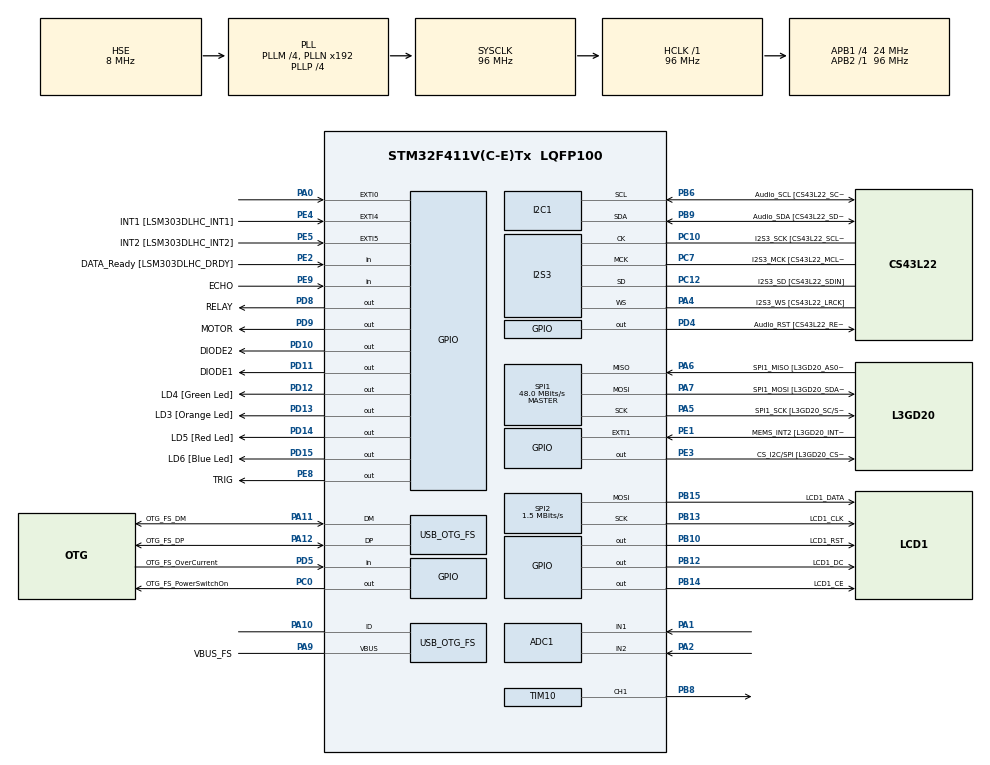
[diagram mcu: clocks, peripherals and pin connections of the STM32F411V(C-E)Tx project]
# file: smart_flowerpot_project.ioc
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ADC1.Channel-1\#ChannelRegularConversion=ADC_CHANNEL_1
ADC1.Channel-2\#ChannelRegularConversion=ADC_CHANNEL_2
ADC1.ContinuousConvMode=ENABLE
ADC1.NbrOfConversion=2
ADC1.NbrOfConversionFlag=1
ADC1.Rank-1\#ChannelRegularConversion=1
ADC1.Rank-2\#ChannelRegularConversion=2
ADC1.SamplingTime-1\#ChannelRegularConversion=ADC_SAMPLETIME_15CYCLES
ADC1.SamplingTime-2\#ChannelRegularConversion=ADC_SAMPLETIME_15CYCLES
ADC1.ScanConvMode=ENABLE
ADC1.master=1
Dma.ADC1.0.Direction=DMA_PERIPH_TO_MEMORY
Dma.ADC1.0.FIFOMode=DMA_FIFOMODE_DISABLE
Dma.ADC1.0.Instance=DMA2_Stream0
Dma.ADC1.0.MemDataAlignment=DMA_MDATAALIGN_HALFWORD
Dma.ADC1.0.MemInc=DMA_MINC_ENABLE
Dma.ADC1.0.Mode=DMA_NORMAL
Dma.ADC1.0.PeriphDataAlignment=DMA_PDATAALIGN_HALFWORD
Dma.ADC1.0.PeriphInc=DMA_PINC_DISABLE
Dma.ADC1.0.Priority=DMA_PRIORITY_LOW
Dma.Request0=ADC1
I2S3.AudioFreq=I2S_AUDIOFREQ_96K
I2S3.ErrorAudioFreq=-6.99 %
I2S3.FullDuplexMode=I2S_FULLDUPLEXMODE_DISABLE
I2S3.Instance=SPI$Index
I2S3.RealAudioFreq=89.285 KHz
I2S3.VirtualMode=I2S_MODE_MASTER
Mcu.Family=STM32F4
Mcu.Name=STM32F411V(C-E)Tx
Mcu.Package=LQFP100
NVIC.DMA2_Stream0_IRQn=true\:0\:0\:false\:false\:true\:false\:true
NVIC.PriorityGroup=NVIC_PRIORITYGROUP_0
NVIC.TIM1_UP_TIM10_IRQn=true\:0\:0\:false\:false\:true\:true\:true
PA0-WKUP.Signal=GPXTI0
PA1.Signal=ADCx_IN1
PA10.Mode=OTG/Dual_Role_Device
PA10.Signal=USB_OTG_FS_ID
PA11.GPIO_Label=OTG_FS_DM
PA11.Mode=OTG/Dual_Role_Device
PA11.Signal=USB_OTG_FS_DM
PA12.GPIO_Label=OTG_FS_DP
PA12.Mode=OTG/Dual_Role_Device
PA12.Signal=USB_OTG_FS_DP
PA13.GPIO_Label=SWDIO
PA13.Mode=Serial_Wire
PA13.Signal=SYS_JTMS-SWDIO
PA14.GPIO_Label=SWCLK
PA14.Mode=Serial_Wire
PA14.Signal=SYS_JTCK-SWCLK
PA2.Signal=ADCx_IN2
PA4.GPIO_Label=I2S3_WS [CS43L22_LRCK]
PA4.GPIO_Mode=GPIO_MODE_AF_PP
PA4.GPIO_PuPd=GPIO_NOPULL
PA4.GPIO_Speed=GPIO_SPEED_FREQ_LOW
PA4.Mode=Half_Duplex_Master
PA4.Signal=I2S3_WS
PA5.GPIO_Label=SPI1_SCK [L3GD20_SC/SPC]
PA5.Mode=Full_Duplex_Master
PA5.Signal=SPI1_SCK
PA6.GPIO_Label=SPI1_MISO [L3GD20_AS0/SDO]
PA6.Mode=Full_Duplex_Master
PA6.Signal=SPI1_MISO
PA7.GPIO_Label=SPI1_MOSI [L3GD20_SDA/SDI/SDO]
PA7.Mode=Full_Duplex_Master
PA7.Signal=SPI1_MOSI
PA9.GPIO_Label=VBUS_FS
PA9.Mode=Activate_VBUS
PA9.Signal=USB_OTG_FS_VBUS
PB10.GPIO_Label=LCD1_RST
PB10.Signal=GPIO_Output
PB12.GPIO_Label=LCD1_DC
PB12.Signal=GPIO_Output
PB13.GPIO_Label=LCD1_CLK
PB13.Mode=TX_Only_Simplex_Unidirect_Master
PB13.Signal=SPI2_SCK
PB14.GPIO_Label=LCD1_CE
PB14.Signal=GPIO_Output
PB15.GPIO_Label=LCD1_DATA
PB15.Mode=TX_Only_Simplex_Unidirect_Master
PB15.Signal=SPI2_MOSI
PB3.GPIO_Label=SWO
PB3.Signal=SYS_JTDO-SWO
PB6.GPIO_Label=Audio_SCL [CS43L22_SCL]
PB6.GPIO_Mode=GPIO_MODE_AF_OD
PB6.GPIO_PuPd=GPIO_NOPULL
PB6.GPIO_Speed=GPIO_SPEED_FREQ_LOW
PB6.Mode=I2C
PB6.Signal=I2C1_SCL
PB8.Signal=S_TIM10_CH1
PB9.GPIO_Label=Audio_SDA [CS43L22_SDA]
PB9.GPIO_Mode=GPIO_MODE_AF_OD
PB9.GPIO_PuPd=GPIO_NOPULL
PB9.GPIO_Speed=GPIO_SPEED_FREQ_LOW
PB9.Mode=I2C
PB9.Signal=I2C1_SDA
PC0.GPIO_Label=OTG_FS_PowerSwitchOn
PC0.PinState=GPIO_PIN_SET
PC0.Signal=GPIO_Output
PC10.GPIO_Label=I2S3_SCK [CS43L22_SCLK]
PC10.GPIO_Mode=GPIO_MODE_AF_PP
PC10.GPIO_PuPd=GPIO_NOPULL
PC10.GPIO_Speed=GPIO_SPEED_FREQ_LOW
PC10.Mode=Half_Duplex_Master
PC10.Signal=I2S3_CK
PC12.GPIO_Label=I2S3_SD [CS43L22_SDIN]
PC12.GPIO_Mode=GPIO_MODE_AF_PP
PC12.GPIO_PuPd=GPIO_NOPULL
PC12.GPIO_Speed=GPIO_SPEED_FREQ_LOW
PC12.Mode=Half_Duplex_Master
PC12.Signal=I2S3_SD
PC14-OSC32_IN.GPIO_Label=PC14-OSC32_IN
PC14-OSC32_IN.Mode=LSE-External-Oscillator
PC14-OSC32_IN.Signal=RCC_OSC32_IN
PC15-OSC32_OUT.GPIO_Label=PC15-OSC32_OUT
PC15-OSC32_OUT.Mode=LSE-External-Oscillator
PC15-OSC32_OUT.Signal=RCC_OSC32_OUT
PC3.GPIO_Label=PDM_OUT [MP45DT02_DOUT]
PC3.Signal=I2S2_SD
PC7.GPIO_Label=I2S3_MCK [CS43L22_MCLK]
PC7.GPIO_Mode=GPIO_MODE_AF_PP
PC7.GPIO_PuPd=GPIO_NOPULL
PC7.GPIO_Speed=GPIO_SPEED_FREQ_LOW
PC7.Mode=Master_Clock_Activated
PC7.Signal=I2S3_MCK
PD10.GPIO_Label=DIODE2
PD10.Signal=GPIO_Output
PD11.GPIO_Label=DIODE1
PD11.Signal=GPIO_Output
PD12.GPIO_Label=LD4 [Green Led]
PD12.GPIO_PuPd=GPIO_NOPULL
PD12.GPIO_Speed=GPIO_SPEED_FREQ_LOW
PD12.Signal=GPIO_Output
PD13.GPIO_Label=LD3 [Orange Led]
PD13.GPIO_PuPd=GPIO_NOPULL
PD13.GPIO_Speed=GPIO_SPEED_FREQ_LOW
PD13.Signal=GPIO_Output
PD14.GPIO_Label=LD5 [Red Led]
PD14.GPIO_PuPd=GPIO_NOPULL
PD14.GPIO_Speed=GPIO_SPEED_FREQ_LOW
PD14.Signal=GPIO_Output
PD15.GPIO_Label=LD6 [Blue Led]
PD15.GPIO_PuPd=GPIO_NOPULL
PD15.GPIO_Speed=GPIO_SPEED_FREQ_LOW
PD15.Signal=GPIO_Output
PD4.GPIO_Label=Audio_RST [CS43L22_RESET]
PD4.Signal=GPIO_Output
PD5.GPIO_Label=OTG_FS_OverCurrent
PD5.Signal=GPIO_Input
PD8.GPIO_Label=RELAY
PD8.Signal=GPIO_Output
PD9.GPIO_Label=MOTOR
PD9.Signal=GPIO_Output
PE1.GPIO_Label=MEMS_INT2 [L3GD20_INT2]
PE1.GPIO_ModeDefaultEXTI=GPIO_MODE_EVT_RISING
PE1.Signal=GPXTI1
PE2.GPIO_Label=DATA_Ready [LSM303DLHC_DRDY]
PE2.Signal=GPIO_Input
PE3.GPIO_Label=CS_I2C/SPI [L3GD20_CS_I2C/SPI]
PE3.Signal=GPIO_Output
PE4.GPIO_Label=INT1 [LSM303DLHC_INT1]
PE4.GPIO_ModeDefaultEXTI=GPIO_MODE_EVT_RISING
PE4.Signal=GPXTI4
PE5.GPIO_Label=INT2 [LSM303DLHC_INT2]
PE5.GPIO_ModeDefaultEXTI=GPIO_MODE_EVT_RISING
PE5.Signal=GPXTI5
PE8.GPIO_Label=TRIG
PE8.Signal=GPIO_Output
PE9.GPIO_Label=ECHO
PE9.Signal=GPIO_Input
PH0\ -\ OSC_IN.GPIO_Label=PH0-OSC_IN
PH0\ -\ OSC_IN.Mode=HSE-External-Oscillator
PH0\ -\ OSC_IN.Signal=RCC_OSC_IN
PH1\ -\ OSC_OUT.GPIO_Label=PH1-OSC_OUT
PH1\ -\ OSC_OUT.Mode=HSE-External-Oscillator
PH1\ -\ OSC_OUT.Signal=RCC_OSC_OUT
ProjectManager.HeapSize=0x200
ProjectManager.StackSize=0x400
ProjectManager.TargetToolchain=SW4STM32
RCC.48MHZClocksFreq_Value=48000000
RCC.AHBFreq_Value=96000000
RCC.APB1CLKDivider=RCC_HCLK_DIV4
RCC.APB1Freq_Value=24000000
RCC.APB1TimFreq_Value=48000000
RCC.APB2Freq_Value=96000000
RCC.APB2TimFreq_Value=96000000
RCC.CortexFreq_Value=96000000
RCC.HCLKFreq_Value=96000000
RCC.HSE_VALUE=8000000
RCC.HSI_VALUE=16000000
RCC.PLLI2SM=5
RCC.PLLI2SN=200
RCC.PLLM=4
RCC.PLLP=RCC_PLLP_DIV4
RCC.PLLQ=8
RCC.SYSCLKFreq_VALUE=96000000
RCC.SYSCLKSource=RCC_SYSCLKSOURCE_PLLCLK
RCC.VCOOutputFreq_Value=384000000
SH.ADCx_IN1.0=ADC1_IN1,IN1
SH.ADCx_IN2.0=ADC1_IN2,IN2
SH.S_TIM10_CH1.0=TIM10_CH1,PWM Generation1 CH1
SPI1.BaudRatePrescaler=SPI_BAUDRATEPRESCALER_2
SPI1.CalculateBaudRate=48.0 MBits/s
SPI1.Direction=SPI_DIRECTION_2LINES
SPI1.Mode=SPI_MODE_MASTER
SPI1.VirtualType=VM_MASTER
SPI2.BaudRatePrescaler=SPI_BAUDRATEPRESCALER_16
SPI2.CalculateBaudRate=1.5 MBits/s
SPI2.Direction=SPI_DIRECTION_2LINES
SPI2.Mode=SPI_MODE_MASTER
SPI2.VirtualType=VM_MASTER
TIM10.Channel=TIM_CHANNEL_1
TIM10.Period=10000
TIM10.Prescaler=95
TIM10.Pulse=15
VP_TIM10_VS_ClockSourceINT.Mode=Enable_Timer
VP_TIM3_VS_ClockSourceINT.Mode=Internal
board=STM32F411E-DISCO

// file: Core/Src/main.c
/* USER CODE BEGIN Header */
/**
  ******************************************************************************
  * @file           : main.c
  * @brief          : Main program body
  ******************************************************************************
  * @attention
  *
  * <h2><center>&copy; Copyright (c) 2020 STMicroelectronics.
  * All rights reserved.</center></h2>
  *
  * This software component is licensed by ST under BSD 3-Clause license,
  * the "License"; You may not use this file except in compliance with the
  * License. You may obtain a copy of the License at:
  *                        opensource.org/licenses/BSD-3-Clause
  *
  ******************************************************************************
  */
/* USER CODE END Header */
#include <lcd5110.h>
#include "main.h"
#include "adc.h"
#include "dma.h"
#include "i2c.h"
#include "i2s.h"
#include "spi.h"
#include "tim.h"
#include "usb_otg.h"
#include "gpio.h"

/* USER CODE BEGIN PV */
volatile uint8_t flag = 0;
volatile uint16_t moisture;
volatile uint16_t light;
volatile float soil_moisture_percent;
char trans_str[64] = {0,};
volatile uint16_t adc[2] = {0,};
const int air_value =3770;
const int water_value = 3000;
//volatile float soil_moisture_percent;
/* USER CODE END PV */

void SystemClock_Config(void);

/* USER CODE BEGIN 0 */
LCD5110_display lcd1;
volatile uint32_t tim10_overflows = 0;

// work with adc
void HAL_ADC_ConvCpltCallback(ADC_HandleTypeDef* hadc)
{
    if(hadc->Instance == ADC1)
    {
        flag = 1;
        HAL_ADC_Stop_DMA(&hadc1);
        HAL_ADC_Start_DMA(&hadc1, (uint32_t*)&adc, 2);
    }
}

// helpful functions for timer

void HAL_TIM_PeriodElapsedCallback(TIM_HandleTypeDef *htim)
{
    if( htim->Instance == TIM10 )
    {
        ++tim10_overflows;
    }
}

inline uint32_t get_tim10_us()
{
    __HAL_TIM_DISABLE_IT(&htim10, TIM_IT_UPDATE);
    uint32_t res = tim10_overflows * 10000 + __HAL_TIM_GET_COUNTER(&htim10);
    __HAL_TIM_ENABLE_IT(&htim10, TIM_IT_UPDATE);
    return res;
}

inline void udelay_TIM10(uint32_t useconds) {
    uint32_t before = get_tim10_us();
    while( get_tim10_us() < before+useconds){}
}
/* USER CODE END 0 */

int main(void)
{

  /* MCU Configuration--------------------------------------------------------*/

  /* Reset of all peripherals, Initializes the Flash interface and the Systick. */
  HAL_Init();

  /* Configure the system clock */
  SystemClock_Config();

  /* Initialize all configured peripherals */
  MX_GPIO_Init();
  MX_DMA_Init();
  MX_ADC1_Init();
  MX_I2C1_Init();
  MX_I2S3_Init();
  MX_SPI1_Init();
  MX_SPI2_Init();
  MX_TIM3_Init();
  MX_USB_OTG_FS_USB_Init();
  MX_TIM10_Init();
  /* USER CODE BEGIN 2 */

    // starting timer
    HAL_TIM_Base_Start_IT(&htim10);

    // starting DMA
    HAL_ADC_Start_DMA(&hadc1, (uint32_t*)&adc, 2);

    // definition of the screen
    lcd1.hw_conf.spi_handle = &hspi2;
    lcd1.hw_conf.spi_cs_pin =  LCD1_CE_Pin;
    lcd1.hw_conf.spi_cs_port = LCD1_CE_GPIO_Port;
    lcd1.hw_conf.rst_pin =  LCD1_RST_Pin;
    lcd1.hw_conf.rst_port = LCD1_RST_GPIO_Port;
    lcd1.hw_conf.dc_pin =  LCD1_DC_Pin;
    lcd1.hw_conf.dc_port = LCD1_DC_GPIO_Port;
    lcd1.def_scr = lcd5110_def_scr;
    LCD5110_init(&lcd1.hw_conf, LCD5110_NORMAL_MODE, 0x40, 2, 3);
  /* USER CODE END 2 */

  /* Infinite loop */
  /* USER CODE BEGIN WHILE */
    HAL_GPIO_WritePin(TRIG_GPIO_Port, TRIG_Pin, GPIO_PIN_RESET);
    while (1)
    {
        // activating the water pump
        HAL_GPIO_WritePin(GPIOD, MOTOR_Pin, GPIO_PIN_SET);

        // dealing with 2 sensors
        if(flag)
        {
            // humidity and light measurement
            flag = 0;
            moisture =  adc[0];
            light = adc[1];
            soil_moisture_percent = ((((float)moisture-air_value)*((float)(100))/(water_value - air_value)));

            // outputting information about humidity
            if (soil_moisture_percent >= 71){
                HAL_GPIO_WritePin(LD3_GPIO_Port, LD3_Pin, GPIO_PIN_RESET);
                HAL_GPIO_WritePin(LD5_GPIO_Port, LD5_Pin, GPIO_PIN_RESET);
                HAL_GPIO_WritePin(LD4_GPIO_Port, LD4_Pin, GPIO_PIN_SET);
                //green
                LCD5110_set_cursor(0,0,&lcd1);
                if(soil_moisture_percent >100){
                    soil_moisture_percent = 100;
                };
                LCD5110_printf(&lcd1,BLACK,"Humidity is\n %.3f\n",soil_moisture_percent);
                LCD5110_set_cursor(0,20,&lcd1);
                LCD5110_printf(&lcd1,BLACK,"OK");
                LCD5110_refresh(&lcd1);
                HAL_Delay(1000);
                LCD5110_clear_scr(&lcd1);
                HAL_GPIO_WritePin(GPIOD, RELAY_Pin, GPIO_PIN_RESET);
            }

            else if(soil_moisture_percent >= 45 && soil_moisture_percent <= 70){
                HAL_GPIO_WritePin(LD4_GPIO_Port, LD4_Pin, GPIO_PIN_RESET);
                HAL_GPIO_WritePin(LD5_GPIO_Port, LD5_Pin, GPIO_PIN_RESET);
                HAL_GPIO_WritePin(LD3_GPIO_Port, LD3_Pin, GPIO_PIN_SET);
                // orange
                LCD5110_set_cursor(0,0,&lcd1);
                LCD5110_printf(&lcd1,BLACK,"Humidity is\n %.3f\n",soil_moisture_percent);
                LCD5110_set_cursor(0,20,&lcd1);
                LCD5110_printf(&lcd1,BLACK,"medium");
                LCD5110_refresh(&lcd1);
                HAL_Delay(1000);
                LCD5110_clear_scr(&lcd1);
                HAL_GPIO_WritePin(GPIOD, RELAY_Pin, GPIO_PIN_RESET);
            }

            else if (soil_moisture_percent <= 44) {
                HAL_GPIO_WritePin(LD3_GPIO_Port, LD3_Pin, GPIO_PIN_RESET);
                HAL_GPIO_WritePin(LD4_GPIO_Port, LD4_Pin, GPIO_PIN_RESET);
                HAL_GPIO_WritePin(LD5_GPIO_Port, LD5_Pin, GPIO_PIN_SET);
                //red
                if(soil_moisture_percent < 0){
                    soil_moisture_percent = 0;
                };
                LCD5110_set_cursor(0,0,&lcd1);
                LCD5110_printf(&lcd1,BLACK,"Humidity is\n %.3f\n",soil_moisture_percent);
                LCD5110_set_cursor(0,20,&lcd1);
                LCD5110_printf(&lcd1,BLACK,"too dry");
                LCD5110_refresh(&lcd1);
                HAL_Delay(1000);
                LCD5110_clear_scr(&lcd1);

                // switching on the water pump
                HAL_GPIO_WritePin(GPIOD, RELAY_Pin, GPIO_PIN_SET);
                HAL_Delay(4000);
                HAL_GPIO_WritePin(GPIOD, RELAY_Pin, GPIO_PIN_RESET);

            }

            // dealing with light
            // turning on or turning off the light
            if (light > 1000 && light < 2000) {
                HAL_GPIO_WritePin(GPIOD, DIODE1_Pin, GPIO_PIN_SET);
                LCD5110_set_cursor(0,0,&lcd1);
                LCD5110_printf(&lcd1,BLACK,"Light is medium");
                LCD5110_refresh(&lcd1);
                HAL_Delay(1000);
                LCD5110_clear_scr(&lcd1);
            }

            else if (light < 1000 && (light != 0)) {
                HAL_GPIO_WritePin(GPIOD, DIODE1_Pin, GPIO_PIN_SET);
                HAL_GPIO_WritePin(GPIOD, DIODE2_Pin, GPIO_PIN_SET);
                LCD5110_set_cursor(0,0,&lcd1);
                LCD5110_printf(&lcd1,BLACK,"Light is not OK");
                LCD5110_refresh(&lcd1);
                HAL_Delay(1000);
                LCD5110_clear_scr(&lcd1);
            }

            else if (light > 3000) {
                HAL_GPIO_WritePin(GPIOD, DIODE1_Pin, GPIO_PIN_RESET);
                HAL_GPIO_WritePin(GPIOD, DIODE2_Pin, GPIO_PIN_RESET);
                LCD5110_set_cursor(0,0,&lcd1);
                LCD5110_printf(&lcd1,BLACK,"Light is OK");
                LCD5110_refresh(&lcd1);
                HAL_Delay(1000);
                LCD5110_clear_scr(&lcd1);
            }

            // getting information about the level of the water reservoir
            // it is dealing with many problems that are connected with no signal capture
            int t_state = HAL_GPIO_ReadPin(TRIG_GPIO_Port, TRIG_Pin);
            while(  t_state == GPIO_PIN_SET )
            {
                LCD5110_set_cursor(0,0,&lcd1);
                LCD5110_printf(&lcd1,BLACK,"W.lvl is not");
                LCD5110_set_cursor(0,20,&lcd1);
                LCD5110_printf(&lcd1,BLACK,"measured");
                LCD5110_refresh(&lcd1);
                HAL_Delay(1000);
                LCD5110_clear_scr(&lcd1);
            }
            HAL_GPIO_WritePin(TRIG_GPIO_Port, TRIG_Pin, GPIO_PIN_SET);
            if ( HAL_GPIO_ReadPin(TRIG_GPIO_Port, TRIG_Pin) != GPIO_PIN_SET )
            {
                LCD5110_set_cursor(0,0,&lcd1);
                LCD5110_printf(&lcd1,BLACK,"W.lvl is not");
                LCD5110_set_cursor(0,20,&lcd1);
                LCD5110_printf(&lcd1,BLACK,"measured");
                LCD5110_refresh(&lcd1);
                HAL_Delay(1000);
                LCD5110_clear_scr(&lcd1);
                HAL_GPIO_WritePin(TRIG_GPIO_Port, TRIG_Pin, GPIO_PIN_RESET);
                HAL_Delay(300);
                continue;
            }
            udelay_TIM10(16);
            HAL_GPIO_WritePin(TRIG_GPIO_Port, TRIG_Pin, GPIO_PIN_RESET);
            if ( HAL_GPIO_ReadPin(TRIG_GPIO_Port, TRIG_Pin) != GPIO_PIN_RESET )
            {
                LCD5110_set_cursor(0,0,&lcd1);
                LCD5110_printf(&lcd1,BLACK,"W.lvl is not");
                LCD5110_set_cursor(0,20,&lcd1);
                LCD5110_printf(&lcd1,BLACK,"measured");
                LCD5110_refresh(&lcd1);
                HAL_Delay(1000);
                LCD5110_clear_scr(&lcd1);
                HAL_GPIO_WritePin(TRIG_GPIO_Port, TRIG_Pin, GPIO_PIN_RESET);
                HAL_Delay(300);
                continue;
            }
            if ( HAL_GPIO_ReadPin(ECHO_GPIO_Port, ECHO_Pin) == GPIO_PIN_SET )
            {
                LCD5110_set_cursor(0,0,&lcd1);
                LCD5110_printf(&lcd1,BLACK,"W.lvl is not");
                LCD5110_set_cursor(0,20,&lcd1);
                LCD5110_printf(&lcd1,BLACK,"measured");
                LCD5110_refresh(&lcd1);
                HAL_Delay(1000);
                LCD5110_clear_scr(&lcd1);HAL_Delay(300);
                continue;
            }

            uint32_t watch = get_tim10_us();
            int didnt_had_1_at_echo = 0;
            while(HAL_GPIO_ReadPin(ECHO_GPIO_Port, ECHO_Pin) == GPIO_PIN_RESET )
            {
                if( get_tim10_us() - watch > 500000 )
                {
                    didnt_had_1_at_echo = 1;
                    break;
                }
            }
            if(didnt_had_1_at_echo)
            {
                LCD5110_set_cursor(0,0,&lcd1);
                LCD5110_printf(&lcd1,BLACK,"W.lvl is not");
                LCD5110_set_cursor(0,20,&lcd1);
                LCD5110_printf(&lcd1,BLACK,"measured");
                LCD5110_refresh(&lcd1);
                HAL_Delay(1000);HAL_Delay(500);
                LCD5110_clear_scr(&lcd1);HAL_Delay(300);
                continue;
            }

            uint32_t before = get_tim10_us();
            int didnt_had_0_at_echo = 0;
            while(HAL_GPIO_ReadPin(ECHO_GPIO_Port, ECHO_Pin) == GPIO_PIN_SET )
            {
                if( get_tim10_us() - watch > 500000 )
                {
                    didnt_had_0_at_echo = 1;
                    break;
                }
            }

            if(didnt_had_0_at_echo)
            {
                LCD5110_set_cursor(0,0,&lcd1);
                LCD5110_printf(&lcd1,BLACK,"W.lvl is not",soil_moisture_percent);
                LCD5110_set_cursor(0,20,&lcd1);
                LCD5110_printf(&lcd1,BLACK,"measured");
                LCD5110_refresh(&lcd1);
                HAL_Delay(1000);
                LCD5110_clear_scr(&lcd1);HAL_Delay(300);
                continue;
            }

            volatile uint32_t pulse_time = get_tim10_us()-before;
            volatile double distance = pulse_time/58;
            if (distance >= 3 && distance <= 10) {
                volatile uint32_t level = 12 - distance;
                LCD5110_set_cursor(0,0,&lcd1);
                LCD5110_printf(&lcd1,BLACK,"Water level\n %.3f\n:",level);
                LCD5110_refresh(&lcd1);
                HAL_Delay(1000);
                LCD5110_clear_scr(&lcd1);
            }

            else if (distance < 3) {
                LCD5110_set_cursor(0,0,&lcd1);
                LCD5110_printf(&lcd1,BLACK,"Add water");
                LCD5110_refresh(&lcd1);
                HAL_Delay(1000);
                LCD5110_clear_scr(&lcd1);
            }

            else if (distance > 500)
            {
                LCD5110_set_cursor(0,0,&lcd1);
                LCD5110_printf(&lcd1,BLACK,"W.lvl is not");
                LCD5110_set_cursor(0,20,&lcd1);
                LCD5110_printf(&lcd1,BLACK,"measured");
                LCD5110_refresh(&lcd1);
                HAL_Delay(1000);
                LCD5110_clear_scr(&lcd1);
            }

        }
    /* USER CODE END WHILE */

  }
}

void SystemClock_Config(void)
{
  RCC_OscInitTypeDef RCC_OscInitStruct = {0};
  RCC_ClkInitTypeDef RCC_ClkInitStruct = {0};
  RCC_PeriphCLKInitTypeDef PeriphClkInitStruct = {0};

  /** Configure the main internal regulator output voltage
  */
  __HAL_RCC_PWR_CLK_ENABLE();
  __HAL_PWR_VOLTAGESCALING_CONFIG(PWR_REGULATOR_VOLTAGE_SCALE1);
  /** Initializes the RCC Oscillators according to the specified parameters
  * in the RCC_OscInitTypeDef structure.
  */
  RCC_OscInitStruct.OscillatorType = RCC_OSCILLATORTYPE_HSE;
  RCC_OscInitStruct.HSEState = RCC_HSE_ON;
  RCC_OscInitStruct.PLL.PLLState = RCC_PLL_ON;
  RCC_OscInitStruct.PLL.PLLSource = RCC_PLLSOURCE_HSE;
  RCC_OscInitStruct.PLL.PLLM = 4;
  RCC_OscInitStruct.PLL.PLLN = 192;
  RCC_OscInitStruct.PLL.PLLP = RCC_PLLP_DIV4;
  RCC_OscInitStruct.PLL.PLLQ = 8;
  if (HAL_RCC_OscConfig(&RCC_OscInitStruct) != HAL_OK)
  {
    Error_Handler();
  }
  /** Initializes the CPU, AHB and APB buses clocks
  */
  RCC_ClkInitStruct.ClockType = RCC_CLOCKTYPE_HCLK|RCC_CLOCKTYPE_SYSCLK
                              |RCC_CLOCKTYPE_PCLK1|RCC_CLOCKTYPE_PCLK2;
  RCC_ClkInitStruct.SYSCLKSource = RCC_SYSCLKSOURCE_PLLCLK;
  RCC_ClkInitStruct.AHBCLKDivider = RCC_SYSCLK_DIV1;
  RCC_ClkInitStruct.APB1CLKDivider = RCC_HCLK_DIV4;
  RCC_ClkInitStruct.APB2CLKDivider = RCC_HCLK_DIV1;

  if (HAL_RCC_ClockConfig(&RCC_ClkInitStruct, FLASH_LATENCY_3) != HAL_OK)
  {
    Error_Handler();
  }
  PeriphClkInitStruct.PeriphClockSelection = RCC_PERIPHCLK_I2S;
  PeriphClkInitStruct.PLLI2S.PLLI2SN = 200;
  PeriphClkInitStruct.PLLI2S.PLLI2SM = 5;
  PeriphClkInitStruct.PLLI2S.PLLI2SR = 2;
  if (HAL_RCCEx_PeriphCLKConfig(&PeriphClkInitStruct) != HAL_OK)
  {
    Error_Handler();
  }
}

void Error_Handler(void)
{
}

/************************ (C) COPYRIGHT STMicroelectronics *****END OF FILE****/
